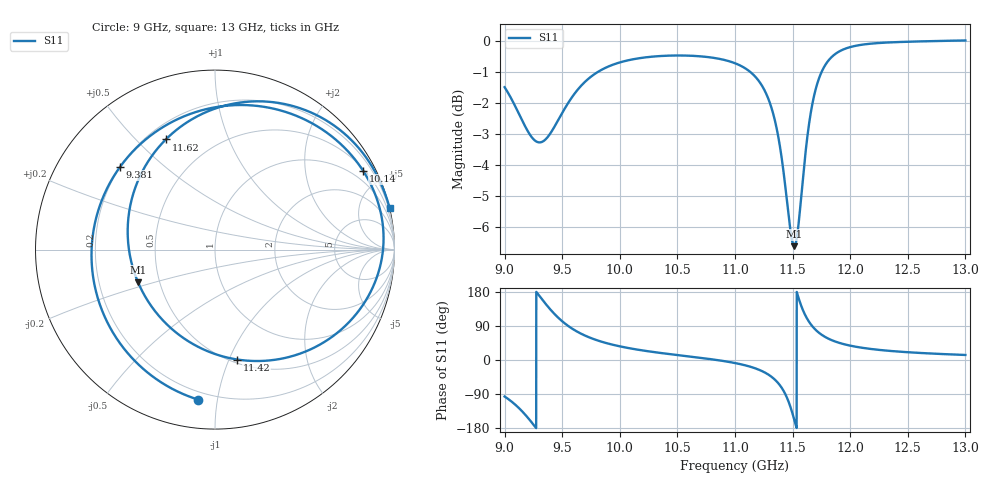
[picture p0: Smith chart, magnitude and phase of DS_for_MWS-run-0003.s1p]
! TOUCHSTONE file generated by CST DESIGN STUDIO
! Date and time: Tue Feb  4 18:15:30 2025
! Project name: C:\Work\MatlabApps\UnitCellOptimizationMatlab\CST\unitcell.cst
! Tree item: Tasks\Sweep1\SPara1\S-Parameters
! Header version: 2024
! Port assignment regex: !\s*Touchstone port\s*([0-9]+)\s*=\s*(CST MWS port|CST DES external port|CST DES block port)\s*(.+)\s* \(\"(.*)\"\)(\s*mode\s*([0-9]+))?.*
! Touchstone port assignment:
! Touchstone port 1 = CST DES external port 1 ("")
# GHz S MA R 50
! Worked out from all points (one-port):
!   4001 points, 9 GHz to 13 GHz, reference 50 ohm
!   lowest |S11| = -6.6 dB at 11.51 GHz (marker M1), VSWR 2.74, Z = 18.9 - j8.82 ohm
!   |S11| at or under -10 dB: nowhere
!   S11 on the Smith chart (normalised r, x): 9 GHz: 0.15, -0.88; 9.381 GHz: 0.20, +0.36; 10.14 GHz: 0.56, +3.93; 11.42 GHz: 0.53, -1.07; 11.62 GHz: 0.27, +0.61; 13 GHz: -0.02, +8.61
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9  0.841 -96.4
9.112  0.7701 -123.3
9.225  0.7027 -160.9
9.301  0.685 169.5
9.381  0.7015 139.0
9.5  0.7642 102.2
9.598  0.8167 80.5
9.728  0.8679 60.5
9.853  0.8994 47.2
10  0.922 36.0
10.14  0.9347 28.0
10.5  0.9461 13.0
11  0.9193 -8.0
11.151  0.8839 -19.4
11.259  0.8296 -33.0
11.342  0.7489 -50.7
11.416  0.6251 -78.5
11.459  0.5343 -105.3
11.5  0.4713 -142.1
11.514  0.4659 -156.9
11.562  0.5281 154.0
11.617  0.6722 114.0
11.685  0.8125 84.3
11.783  0.9129 60.8
11.878  0.9536 47.9
12  0.9761 37.9
12.5  0.9957 20.5
13  1 13.3
